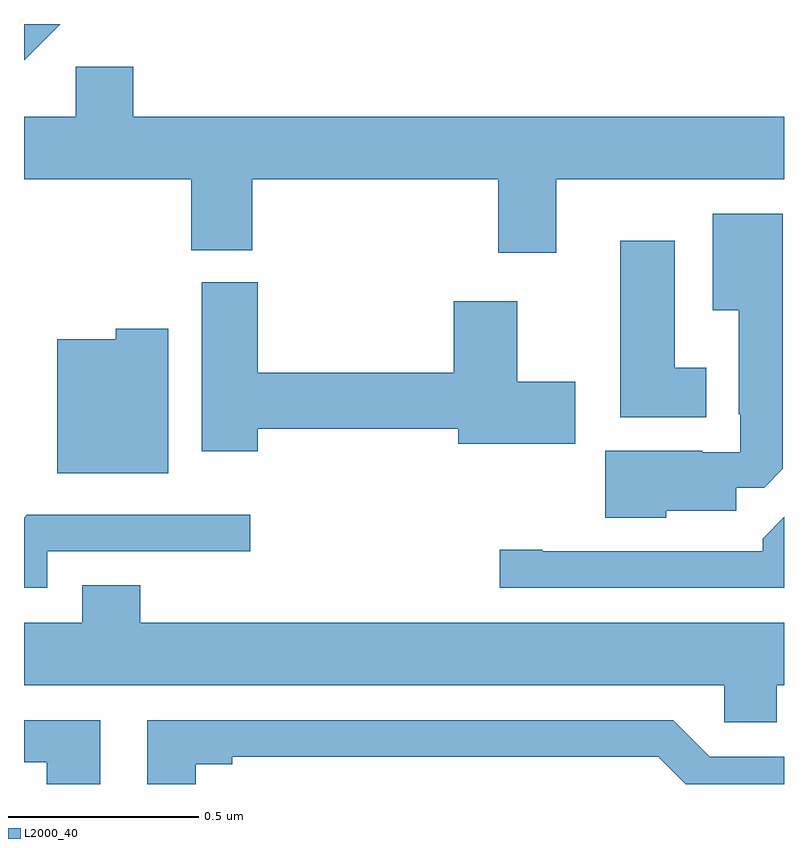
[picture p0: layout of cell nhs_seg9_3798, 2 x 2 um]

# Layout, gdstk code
import gdstk
lib = gdstk.Library(unit=1e-6, precision=1e-09)
def P(c, l, *ps):  # polygons
    for p in ps: c.add(gdstk.Polygon(p, *l))
L2000_40 = (2000, 40)

nhs_seg9_3798 = lib.new_cell('nhs_seg9_3798')
P(nhs_seg9_3798, L2000_40, [(158.096,1191.5),(158,1191.5),(158,1191.404)],
  [(159.4,1191.092),(160,1191.092),(160,1191.256),(158.288,1191.256),(158.288,1191.388),(158.136,1191.388),(158.136,1191.256),(158,1191.256),(158,1191.092),(158.44,1191.092),(158.44,1190.905),(158.6,1190.905),(158.6,1191.092),(159.248,1191.092),(159.248,1190.898),(159.4,1190.898)],
  [(159.69,1190.219),(159.874,1190.219),(159.874,1190.28),(159.948,1190.28),(159.997,1190.329),(159.997,1191.001),(159.812,1191.001),(159.812,1190.747),(159.881,1190.747),(159.881,1190.473),(159.885,1190.473),(159.885,1190.373),(159.785,1190.373),(159.785,1190.377),(159.53,1190.377),(159.53,1190.201),(159.69,1190.201)],
  [(159.796,1190.596),(159.712,1190.596),(159.712,1190.929),(159.569,1190.929),(159.569,1190.465),(159.796,1190.465)],
  [(158.615,1190.435),(159.143,1190.435),(159.143,1190.396),(159.451,1190.396),(159.451,1190.559),(159.298,1190.559),(159.298,1190.77),(159.131,1190.77),(159.131,1190.582),(158.615,1190.582),(158.615,1190.82),(158.468,1190.82),(158.468,1190.376),(158.615,1190.376)],
  [(158.38,1190.698),(158.241,1190.698),(158.241,1190.671),(158.087,1190.671),(158.087,1190.318),(158.38,1190.318)],
  [(158.061,1190.112),(158.596,1190.112),(158.596,1190.208),(158.007,1190.208),(158,1190.201),(158,1190.016),(158.061,1190.016)],
  [(160,1190.203),(159.944,1190.146),(159.944,1190.112),(159.364,1190.112),(159.364,1190.117),(159.252,1190.117),(159.252,1190.016),(160,1190.016)],
  [(159.981,1189.76),(160,1189.76),(160,1189.924),(158.306,1189.924),(158.306,1190.023),(158.153,1190.023),(158.153,1189.924),(158,1189.924),(158,1189.76),(159.843,1189.76),(159.843,1189.662),(159.981,1189.662)],
  [(158.2,1189.668),(158,1189.668),(158,1189.557),(158.06,1189.557),(158.06,1189.5),(158.2,1189.5)],
  [(158.452,1189.552),(158.548,1189.552),(158.548,1189.572),(159.669,1189.572),(159.741,1189.5),(160,1189.5),(160,1189.572),(159.805,1189.572),(159.709,1189.668),(158.324,1189.668),(158.324,1189.5),(158.452,1189.5)])

lib.write_gds('nhs_seg9_3798.gds')
